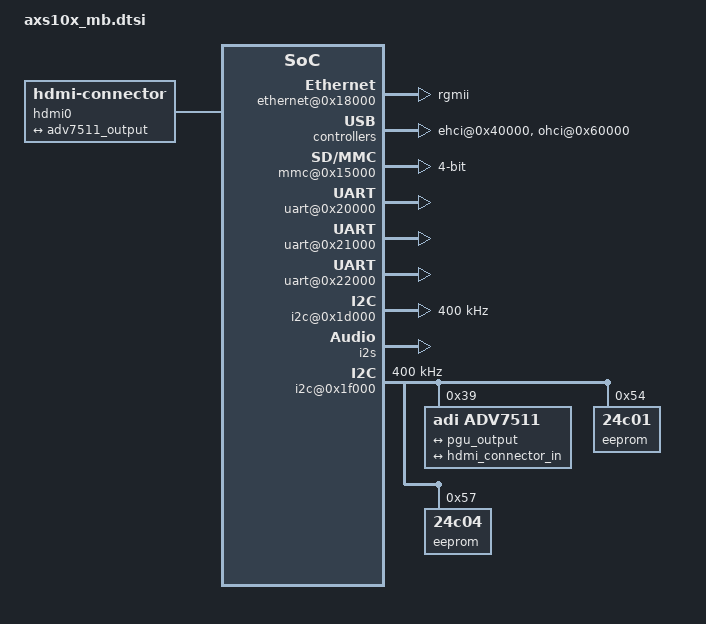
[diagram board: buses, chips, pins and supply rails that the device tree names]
/*
 * Support for peripherals on the AXS10x mainboard
 *
 * Copyright (C) 2013-15 Synopsys, Inc. (www.synopsys.com)
 *
 * This program is free software; you can redistribute it and/or modify
 * it under the terms of the GNU General Public License version 2 as
 * published by the Free Software Foundation.
 */

/ {
	axs10x_mb {
		compatible = "simple-bus";
		#address-cells = <1>;
		#size-cells = <1>;
		ranges = <0x00000000 0x0 0xe0000000 0x10000000>;
		interrupt-parent = <&mb_intc>;

		i2sclk: i2sclk@100a0 {
			compatible = "snps,axs10x-i2s-pll-clock";
			reg = <0x100a0 0x10>;
			clocks = <&i2spll_clk>;
			#clock-cells = <0>;
		};

		clocks {
			i2spll_clk: i2spll_clk {
				compatible = "fixed-clock";
				clock-frequency = <27000000>;
				#clock-cells = <0>;
			};

			i2cclk: i2cclk {
				compatible = "fixed-clock";
				clock-frequency = <50000000>;
				#clock-cells = <0>;
			};

			apbclk: apbclk {
				compatible = "fixed-clock";
				clock-frequency = <50000000>;
				#clock-cells = <0>;
			};

			mmcclk: mmcclk {
				compatible = "fixed-clock";
				/*
				 * DW sdio controller has external ciu clock divider
				 * controlled via register in SDIO IP. It divides
				 * sdio_ref_clk (which comes from CGU) by 16 for
				 * default. So default mmcclk clock (which comes
				 * to sdk_in) is 25000000 Hz.
				 */
				clock-frequency = <25000000>;
				#clock-cells = <0>;
			};

			pguclk: pguclk {
				#clock-cells = <0>;
				compatible = "fixed-clock";
				clock-frequency = <74250000>;
			};
		};

		ethernet@0x18000 {
			#interrupt-cells = <1>;
			compatible = "snps,dwmac";
			reg = < 0x18000 0x2000 >;
			interrupts = < 4 >;
			interrupt-names = "macirq";
			phy-mode = "rgmii";
			snps,pbl = < 32 >;
			clocks = <&apbclk>;
			clock-names = "stmmaceth";
			max-speed = <100>;
		};

		ehci@0x40000 {
			compatible = "generic-ehci";
			reg = < 0x40000 0x100 >;
			interrupts = < 8 >;
		};

		ohci@0x60000 {
			compatible = "generic-ohci";
			reg = < 0x60000 0x100 >;
			interrupts = < 8 >;
		};

		/*
		 * According to DW Mobile Storage databook it is required
		 * to use  "Hold Register" if card is enumerated in SDR12 or
		 * SDR25 modes.
		 *
		 * Utilization of "Hold Register" is already implemented via
		 * dw_mci_pltfm_prepare_command() which in its turn gets
		 * used through dw_mci_drv_data->prepare_command call-back.
		 * This call-back is used in Altera Socfpga platform and so
		 * we may reuse it saying that we're compatible with their
		 * "altr,socfpga-dw-mshc".
		 *
		 * Most probably "Hold Register" utilization is platform-
		 * independent requirement which means that single unified
		 * "snps,dw-mshc" should be enough for all users of DW MMC once
		 * dw_mci_pltfm_prepare_command() is used in generic platform
		 * code.
		 */
		mmc@0x15000 {
			compatible = "altr,socfpga-dw-mshc";
			reg = < 0x15000 0x400 >;
			fifo-depth = < 16 >;
			card-detect-delay = < 200 >;
			clocks = <&apbclk>, <&mmcclk>;
			clock-names = "biu", "ciu";
			interrupts = < 7 >;
			bus-width = < 4 >;
		};

		uart@0x20000 {
			compatible = "snps,dw-apb-uart";
			reg = <0x20000 0x100>;
			clock-frequency = <33333333>;
			interrupts = <17>;
			baud = <115200>;
			reg-shift = <2>;
			reg-io-width = <4>;
		};

		uart@0x21000 {
			compatible = "snps,dw-apb-uart";
			reg = <0x21000 0x100>;
			clock-frequency = <33333333>;
			interrupts = <18>;
			baud = <115200>;
			reg-shift = <2>;
			reg-io-width = <4>;
		};

		/* UART muxed with USB data port (ttyS3) */
		uart@0x22000 {
			compatible = "snps,dw-apb-uart";
			reg = <0x22000 0x100>;
			clock-frequency = <33333333>;
			interrupts = <19>;
			baud = <115200>;
			reg-shift = <2>;
			reg-io-width = <4>;
		};

		i2c@0x1d000 {
			compatible = "snps,designware-i2c";
			reg = <0x1d000 0x100>;
			clock-frequency = <400000>;
			clocks = <&i2cclk>;
			interrupts = <14>;
		};

		i2s: i2s@1e000 {
			compatible = "snps,designware-i2s";
			reg = <0x1e000 0x100>;
			clocks = <&i2sclk 0>;
			clock-names = "i2sclk";
			interrupts = <15>;
			#sound-dai-cells = <0>;
		};

		i2c@0x1f000 {
			compatible = "snps,designware-i2c";
			#address-cells = <1>;
			#size-cells = <0>;
			reg = <0x1f000 0x100>;
			clock-frequency = <400000>;
			clocks = <&i2cclk>;
			interrupts = <16>;

			adv7511:adv7511@39{
				compatible="adi,adv7511";
				reg = <0x39>;
				interrupts = <23>;
				adi,input-depth = <8>;
				adi,input-colorspace = "rgb";
				adi,input-clock = "1x";
				adi,clock-delay = <0x03>;
				#sound-dai-cells = <0>;

				ports {
					#address-cells = <1>;
					#size-cells = <0>;

					/* RGB/YUV input */
					port@0 {
						reg = <0>;
						adv7511_input:endpoint {
						remote-endpoint = <&pgu_output>;
						};
					};

					/* HDMI output */
					port@1 {
						reg = <1>;
						adv7511_output: endpoint {
							remote-endpoint = <&hdmi_connector_in>;
						};
					};
				};
			};

			eeprom@0x54{
				compatible = "24c01";
				reg = <0x54>;
				pagesize = <0x8>;
			};

			eeprom@0x57{
				compatible = "24c04";
				reg = <0x57>;
				pagesize = <0x8>;
			};
		};

		hdmi0: connector {
			compatible = "hdmi-connector";
			type = "a";
			port {
				hdmi_connector_in: endpoint {
					remote-endpoint = <&adv7511_output>;
				};
			};
		};

		gpio0:gpio@13000 {
			compatible = "snps,dw-apb-gpio";
			reg = <0x13000 0x1000>;
			#address-cells = <1>;
			#size-cells = <0>;

			gpio0_banka: gpio-controller@0 {
				compatible = "snps,dw-apb-gpio-port";
				gpio-controller;
				#gpio-cells = <2>;
				snps,nr-gpios = <32>;
				reg = <0>;
			};

			gpio0_bankb: gpio-controller@1 {
				compatible = "snps,dw-apb-gpio-port";
				gpio-controller;
				#gpio-cells = <2>;
				snps,nr-gpios = <8>;
				reg = <1>;
			};

			gpio0_bankc: gpio-controller@2 {
				compatible = "snps,dw-apb-gpio-port";
				gpio-controller;
				#gpio-cells = <2>;
				snps,nr-gpios = <8>;
				reg = <2>;
			};
		};

		gpio1:gpio@14000 {
			compatible = "snps,dw-apb-gpio";
			reg = <0x14000 0x1000>;
			#address-cells = <1>;
			#size-cells = <0>;

			gpio1_banka: gpio-controller@0 {
				compatible = "snps,dw-apb-gpio-port";
				gpio-controller;
				#gpio-cells = <2>;
				snps,nr-gpios = <30>;
				reg = <0>;
			};

			gpio1_bankb: gpio-controller@1 {
				compatible = "snps,dw-apb-gpio-port";
				gpio-controller;
				#gpio-cells = <2>;
				snps,nr-gpios = <10>;
				reg = <1>;
			};

			gpio1_bankc: gpio-controller@2 {
				compatible = "snps,dw-apb-gpio-port";
				gpio-controller;
				#gpio-cells = <2>;
				snps,nr-gpios = <8>;
				reg = <2>;
			};
		};

		pgu@17000 {
			compatible = "snps,arcpgu";
			reg = <0x17000 0x400>;
			encoder-slave = <&adv7511>;
			clocks = <&pguclk>;
			clock-names = "pxlclk";
			memory-region = <&frame_buffer>;
			port {
				pgu_output: endpoint {
					remote-endpoint = <&adv7511_input>;
				};
			};
		};

		sound_playback {
			compatible = "simple-audio-card";
			simple-audio-card,name = "AXS10x HDMI Audio";
			simple-audio-card,format = "i2s";
			simple-audio-card,cpu {
				sound-dai = <&i2s>;
			};
			simple-audio-card,codec {
				sound-dai = <&adv7511>;
			};
		};
	};
};
